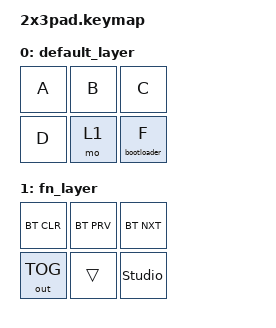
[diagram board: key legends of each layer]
/*
 * Copyright (c) 2025 The ZMK Contributors
 *
 * SPDX-License-Identifier: MIT
 */

#include <behaviors.dtsi>
#include <dt-bindings/zmk/keys.h>
#include <dt-bindings/zmk/bt.h>
#include <dt-bindings/zmk/outputs.h>

/ {
    keymap {
        compatible = "zmk,keymap";


        default_layer {
            bindings = <
                &kp A     &kp B     &kp C
                &kp D     &mo 1     &mt bootloader F
            >;
        };

        fn_layer {
            bindings = <
                &bt BT_CLR    &bt BT_PRV    &bt BT_NXT
                &out OUT_TOG         &trans         &studio_unlock
            >;
        };
    };
};
